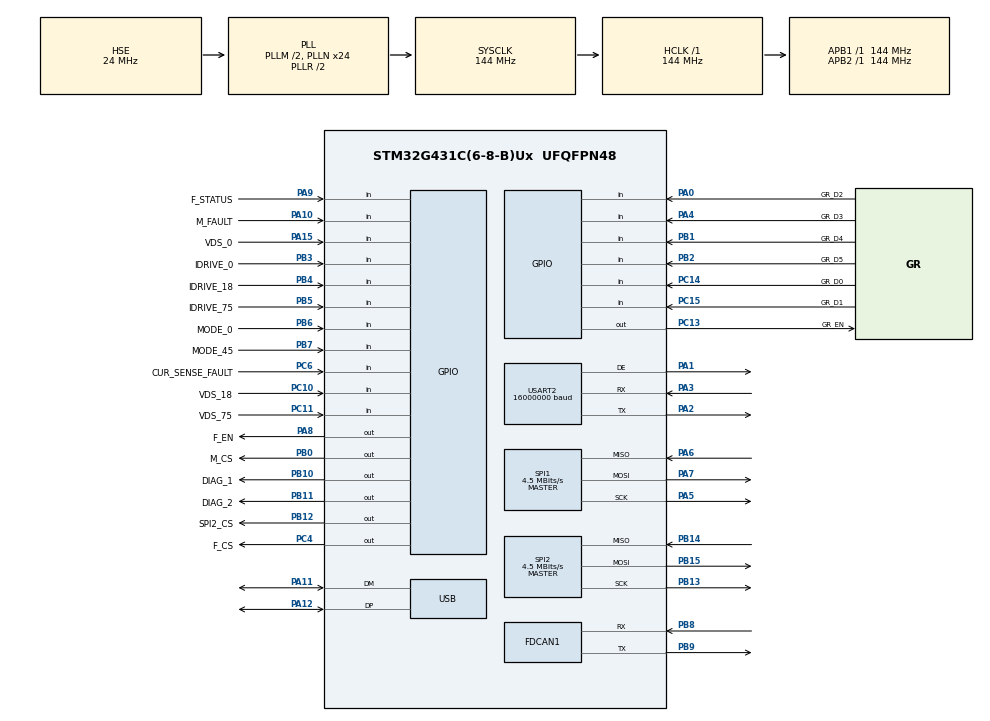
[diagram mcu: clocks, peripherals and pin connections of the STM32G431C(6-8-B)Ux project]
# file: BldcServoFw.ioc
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Dma.Request0=SPI1_RX
Dma.Request1=SPI1_TX
Dma.Request2=USART2_RX
Dma.Request3=USART2_TX
Dma.Request4=SPI2_RX
Dma.Request5=SPI2_TX
Dma.SPI1_RX.0.Direction=DMA_PERIPH_TO_MEMORY
Dma.SPI1_RX.0.EventEnable=DISABLE
Dma.SPI1_RX.0.Instance=DMA1_Channel1
Dma.SPI1_RX.0.MemDataAlignment=DMA_MDATAALIGN_BYTE
Dma.SPI1_RX.0.MemInc=DMA_MINC_ENABLE
Dma.SPI1_RX.0.Mode=DMA_NORMAL
Dma.SPI1_RX.0.PeriphDataAlignment=DMA_PDATAALIGN_BYTE
Dma.SPI1_RX.0.PeriphInc=DMA_PINC_DISABLE
Dma.SPI1_RX.0.Polarity=HAL_DMAMUX_REQ_GEN_RISING
Dma.SPI1_RX.0.Priority=DMA_PRIORITY_LOW
Dma.SPI1_RX.0.RequestNumber=1
Dma.SPI1_RX.0.SignalID=NONE
Dma.SPI1_RX.0.SyncEnable=DISABLE
Dma.SPI1_RX.0.SyncPolarity=HAL_DMAMUX_SYNC_NO_EVENT
Dma.SPI1_RX.0.SyncRequestNumber=1
Dma.SPI1_RX.0.SyncSignalID=NONE
Dma.SPI1_TX.1.Direction=DMA_MEMORY_TO_PERIPH
Dma.SPI1_TX.1.EventEnable=DISABLE
Dma.SPI1_TX.1.Instance=DMA1_Channel2
Dma.SPI1_TX.1.MemDataAlignment=DMA_MDATAALIGN_BYTE
Dma.SPI1_TX.1.MemInc=DMA_MINC_ENABLE
Dma.SPI1_TX.1.Mode=DMA_NORMAL
Dma.SPI1_TX.1.PeriphDataAlignment=DMA_PDATAALIGN_BYTE
Dma.SPI1_TX.1.PeriphInc=DMA_PINC_DISABLE
Dma.SPI1_TX.1.Polarity=HAL_DMAMUX_REQ_GEN_RISING
Dma.SPI1_TX.1.Priority=DMA_PRIORITY_LOW
Dma.SPI1_TX.1.RequestNumber=1
Dma.SPI1_TX.1.SignalID=NONE
Dma.SPI1_TX.1.SyncEnable=DISABLE
Dma.SPI1_TX.1.SyncPolarity=HAL_DMAMUX_SYNC_NO_EVENT
Dma.SPI1_TX.1.SyncRequestNumber=1
Dma.SPI1_TX.1.SyncSignalID=NONE
Dma.SPI2_RX.4.Direction=DMA_PERIPH_TO_MEMORY
Dma.SPI2_RX.4.EventEnable=DISABLE
Dma.SPI2_RX.4.Instance=DMA1_Channel5
Dma.SPI2_RX.4.MemDataAlignment=DMA_MDATAALIGN_BYTE
Dma.SPI2_RX.4.MemInc=DMA_MINC_ENABLE
Dma.SPI2_RX.4.Mode=DMA_NORMAL
Dma.SPI2_RX.4.PeriphDataAlignment=DMA_PDATAALIGN_BYTE
Dma.SPI2_RX.4.PeriphInc=DMA_PINC_DISABLE
Dma.SPI2_RX.4.Polarity=HAL_DMAMUX_REQ_GEN_RISING
Dma.SPI2_RX.4.Priority=DMA_PRIORITY_LOW
Dma.SPI2_RX.4.RequestNumber=1
Dma.SPI2_RX.4.SignalID=NONE
Dma.SPI2_RX.4.SyncEnable=DISABLE
Dma.SPI2_RX.4.SyncPolarity=HAL_DMAMUX_SYNC_NO_EVENT
Dma.SPI2_RX.4.SyncRequestNumber=1
Dma.SPI2_RX.4.SyncSignalID=NONE
Dma.SPI2_TX.5.Direction=DMA_MEMORY_TO_PERIPH
Dma.SPI2_TX.5.EventEnable=DISABLE
Dma.SPI2_TX.5.Instance=DMA1_Channel6
Dma.SPI2_TX.5.MemDataAlignment=DMA_MDATAALIGN_BYTE
Dma.SPI2_TX.5.MemInc=DMA_MINC_ENABLE
Dma.SPI2_TX.5.Mode=DMA_NORMAL
Dma.SPI2_TX.5.PeriphDataAlignment=DMA_PDATAALIGN_BYTE
Dma.SPI2_TX.5.PeriphInc=DMA_PINC_DISABLE
Dma.SPI2_TX.5.Polarity=HAL_DMAMUX_REQ_GEN_RISING
Dma.SPI2_TX.5.Priority=DMA_PRIORITY_LOW
Dma.SPI2_TX.5.RequestNumber=1
Dma.SPI2_TX.5.SignalID=NONE
Dma.SPI2_TX.5.SyncEnable=DISABLE
Dma.SPI2_TX.5.SyncPolarity=HAL_DMAMUX_SYNC_NO_EVENT
Dma.SPI2_TX.5.SyncRequestNumber=1
Dma.SPI2_TX.5.SyncSignalID=NONE
Dma.USART2_RX.2.Direction=DMA_PERIPH_TO_MEMORY
Dma.USART2_RX.2.EventEnable=DISABLE
Dma.USART2_RX.2.Instance=DMA1_Channel3
Dma.USART2_RX.2.MemDataAlignment=DMA_MDATAALIGN_BYTE
Dma.USART2_RX.2.MemInc=DMA_MINC_ENABLE
Dma.USART2_RX.2.Mode=DMA_NORMAL
Dma.USART2_RX.2.PeriphDataAlignment=DMA_PDATAALIGN_BYTE
Dma.USART2_RX.2.PeriphInc=DMA_PINC_DISABLE
Dma.USART2_RX.2.Polarity=HAL_DMAMUX_REQ_GEN_RISING
Dma.USART2_RX.2.Priority=DMA_PRIORITY_LOW
Dma.USART2_RX.2.RequestNumber=1
Dma.USART2_RX.2.SignalID=NONE
Dma.USART2_RX.2.SyncEnable=DISABLE
Dma.USART2_RX.2.SyncPolarity=HAL_DMAMUX_SYNC_NO_EVENT
Dma.USART2_RX.2.SyncRequestNumber=1
Dma.USART2_RX.2.SyncSignalID=NONE
Dma.USART2_TX.3.Direction=DMA_MEMORY_TO_PERIPH
Dma.USART2_TX.3.EventEnable=DISABLE
Dma.USART2_TX.3.Instance=DMA1_Channel4
Dma.USART2_TX.3.MemDataAlignment=DMA_MDATAALIGN_BYTE
Dma.USART2_TX.3.MemInc=DMA_MINC_ENABLE
Dma.USART2_TX.3.Mode=DMA_NORMAL
Dma.USART2_TX.3.PeriphDataAlignment=DMA_PDATAALIGN_BYTE
Dma.USART2_TX.3.PeriphInc=DMA_PINC_DISABLE
Dma.USART2_TX.3.Polarity=HAL_DMAMUX_REQ_GEN_RISING
Dma.USART2_TX.3.Priority=DMA_PRIORITY_LOW
Dma.USART2_TX.3.RequestNumber=1
Dma.USART2_TX.3.SignalID=NONE
Dma.USART2_TX.3.SyncEnable=DISABLE
Dma.USART2_TX.3.SyncPolarity=HAL_DMAMUX_SYNC_NO_EVENT
Dma.USART2_TX.3.SyncRequestNumber=1
Dma.USART2_TX.3.SyncSignalID=NONE
FDCAN1.CalculateBaudRateNominal=1000000
FDCAN1.CalculateTimeBitNominal=1000
FDCAN1.CalculateTimeQuantumNominal=6.944444444444445
FDCAN1.DataTimeSeg1=9
FDCAN1.DataTimeSeg2=8
FDCAN1.ExtFiltersNbr=2
FDCAN1.FrameFormat=FDCAN_FRAME_FD_BRS
FDCAN1.NominalPrescaler=1
FDCAN1.NominalTimeSeg1=72
FDCAN1.NominalTimeSeg2=71
FDCAN1.StdFiltersNbr=2
FDCAN1.TransmitPause=DISABLE
FREERTOS.BinarySemaphores01=usbRxCompleted,Static,usbRxCompletedControlBlock;spi1TxCompleted,Static,spi1TxCompletedControlBlock;spi1RxCompleted,Static,spi1RxCompletedControlBlock;rs485RxCompleted,Static,rs485RxCompletedControlBlock;rs485TxCompleted,Static,rs485TxCompletedControlBlock;fdCanRxCompleted,Static,fdCanRxCompletedControlBlock;spi2RxCompleted,Static,spi2RxCompletedControlBlock;spi2TxCompleted,Static,spi2TxCompletedControlBlock;fdCanTxCompleted,Static,fdCanTxCompletedControlBlock
FREERTOS.Tasks01=usbRx,8,128,handleUsbRx,Default,NULL,Static,usbRxBuffer,usbRxControlBlock;blinker,8,128,blink,Default,NULL,Static,blinkerBuffer,blinkerControlBlock;rs485Comm,24,128,handleRs485,Default,NULL,Static,rs485CommBuffer,rs485CommControlBlock;fdCanComm,24,128,handleFdCan,Default,NULL,Static,fdCanCommBuffer,fdCanCommControlBlock;spi2Comm,24,128,handleSpi2,Default,NULL,Static,spi2CommBuffer,spi2CommControlBlock
FREERTOS.configENABLE_FPU=0
FREERTOS.configMINIMAL_STACK_SIZE=64
FREERTOS.configTOTAL_HEAP_SIZE=1024
FREERTOS.configUSE_NEWLIB_REENTRANT=1
Mcu.Family=STM32G4
Mcu.Name=STM32G431C(6-8-B)Ux
Mcu.Package=UFQFPN48
NVIC.DMA1_Channel1_IRQn=true\:5\:0\:false\:false\:true\:true\:false\:true\:true
NVIC.DMA1_Channel2_IRQn=true\:5\:0\:false\:false\:true\:true\:false\:true\:true
NVIC.DMA1_Channel3_IRQn=true\:5\:0\:false\:false\:true\:true\:false\:true\:true
NVIC.DMA1_Channel4_IRQn=true\:5\:0\:false\:false\:true\:true\:false\:true\:true
NVIC.DMA1_Channel5_IRQn=true\:5\:0\:false\:false\:true\:true\:false\:true\:true
NVIC.DMA1_Channel6_IRQn=true\:5\:0\:false\:false\:true\:true\:false\:true\:true
NVIC.FDCAN1_IT0_IRQn=true\:5\:0\:false\:false\:true\:true\:true\:true\:true
NVIC.PriorityGroup=NVIC_PRIORITYGROUP_4
NVIC.TIM1_UP_TIM16_IRQn=true\:15\:0\:false\:false\:true\:false\:false\:true\:true
NVIC.TimeBase=TIM1_UP_TIM16_IRQn
NVIC.TimeBaseIP=TIM1
NVIC.USART2_IRQn=true\:5\:0\:false\:false\:true\:true\:true\:true\:true
NVIC.USB_LP_IRQn=true\:5\:0\:false\:false\:true\:true\:false\:true\:true
PA0.GPIO_Label=GR_D2
PA0.Signal=GPIO_Input
PA1.Mode=Hardware Flow Control (RS485)
PA1.Signal=USART2_DE
PA10.GPIO_Label=M_FAULT
PA10.Signal=GPIO_Input
PA11.Mode=Device
PA11.Signal=USB_DM
PA12.Mode=Device
PA12.Signal=USB_DP
PA13.Mode=Serial_Wire
PA13.Signal=SYS_JTMS-SWDIO
PA14.Mode=Serial_Wire
PA14.Signal=SYS_JTCK-SWCLK
PA15.GPIO_Label=VDS_0
PA15.Signal=GPIO_Input
PA2.Mode=Asynchronous
PA2.Signal=USART2_TX
PA3.Mode=Asynchronous
PA3.Signal=USART2_RX
PA4.GPIO_Label=GR_D3
PA4.Signal=GPIO_Input
PA5.Mode=Full_Duplex_Master
PA5.Signal=SPI1_SCK
PA6.Mode=Full_Duplex_Master
PA6.Signal=SPI1_MISO
PA7.Mode=Full_Duplex_Master
PA7.Signal=SPI1_MOSI
PA8.GPIO_Label=F_EN
PA8.Signal=GPIO_Output
PA9.GPIO_Label=F_STATUS
PA9.Signal=GPIO_Input
PB0.GPIO_Label=M_CS
PB0.Signal=GPIO_Output
PB1.GPIO_Label=GR_D4
PB1.Signal=GPIO_Input
PB10.GPIO_Label=DIAG_1
PB10.Signal=GPIO_Output
PB11.GPIO_Label=DIAG_2
PB11.Signal=GPIO_Output
PB12.GPIO_Label=SPI2_CS
PB12.Signal=GPIO_Output
PB13.Mode=Full_Duplex_Master
PB13.Signal=SPI2_SCK
PB14.Mode=Full_Duplex_Master
PB14.Signal=SPI2_MISO
PB15.Mode=Full_Duplex_Master
PB15.Signal=SPI2_MOSI
PB2.GPIO_Label=GR_D5
PB2.Signal=GPIO_Input
PB3.GPIO_Label=IDRIVE_0
PB3.Signal=GPIO_Input
PB4.GPIO_Label=IDRIVE_18
PB4.Signal=GPIO_Input
PB5.GPIO_Label=IDRIVE_75
PB5.Signal=GPIO_Input
PB6.GPIO_Label=MODE_0
PB6.Signal=GPIO_Input
PB7.GPIO_Label=MODE_45
PB7.Signal=GPIO_Input
PB8-BOOT0.Mode=FDCAN_Activate
PB8-BOOT0.Signal=FDCAN1_RX
PB9.Mode=FDCAN_Activate
PB9.Signal=FDCAN1_TX
PC10.GPIO_Label=VDS_18
PC10.Signal=GPIO_Input
PC11.GPIO_Label=VDS_75
PC11.Signal=GPIO_Input
PC13.GPIO_Label=GR_EN
PC13.Signal=GPIO_Output
PC14-OSC32_IN.GPIO_Label=GR_D0
PC14-OSC32_IN.Signal=GPIO_Input
PC15-OSC32_OUT.GPIO_Label=GR_D1
PC15-OSC32_OUT.Signal=GPIO_Input
PC4.GPIO_Label=F_CS
PC4.Signal=GPIO_Output
PC6.GPIO_Label=CUR_SENSE_FAULT
PC6.Signal=GPIO_Input
PF0-OSC_IN.Mode=HSE-External-Oscillator
PF0-OSC_IN.Signal=RCC_OSC_IN
PF1-OSC_OUT.Mode=HSE-External-Oscillator
PF1-OSC_OUT.Signal=RCC_OSC_OUT
ProjectManager.HeapSize=0x800
ProjectManager.StackSize=0x800
ProjectManager.TargetToolchain=STM32CubeIDE
RCC.ADC12Freq_Value=144000000
RCC.AHBFreq_Value=144000000
RCC.APB1Freq_Value=144000000
RCC.APB1TimFreq_Value=144000000
RCC.APB2Freq_Value=144000000
RCC.APB2TimFreq_Value=144000000
RCC.CortexFreq_Value=144000000
RCC.EXTERNAL_CLOCK_VALUE=12288000
RCC.EnbaleCSS=true
RCC.HCLKFreq_Value=144000000
RCC.HSE_VALUE=24000000
RCC.HSI48_VALUE=48000000
RCC.HSI_VALUE=16000000
RCC.LSE_VALUE=32768
RCC.PLLM=RCC_PLLM_DIV2
RCC.PLLN=24
RCC.PLLQ=RCC_PLLQ_DIV6
RCC.PLLSourceVirtual=RCC_PLLSOURCE_HSE
RCC.SYSCLKFreq_VALUE=144000000
RCC.SYSCLKSource=RCC_SYSCLKSOURCE_PLLCLK
RCC.USBFreq_Value=48000000
RCC.VCOOutputFreq_Value=288000000
SPI1.BaudRatePrescaler=SPI_BAUDRATEPRESCALER_32
SPI1.CalculateBaudRate=4.5 MBits/s
SPI1.DataSize=SPI_DATASIZE_8BIT
SPI1.Direction=SPI_DIRECTION_2LINES
SPI1.Mode=SPI_MODE_MASTER
SPI1.NSSPMode=SPI_NSS_PULSE_DISABLE
SPI1.VirtualType=VM_MASTER
SPI2.BaudRatePrescaler=SPI_BAUDRATEPRESCALER_32
SPI2.CalculateBaudRate=4.5 MBits/s
SPI2.DataSize=SPI_DATASIZE_8BIT
SPI2.Direction=SPI_DIRECTION_2LINES
SPI2.Mode=SPI_MODE_MASTER
SPI2.NSSPMode=SPI_NSS_PULSE_DISABLE
SPI2.VirtualType=VM_MASTER
USART2.AutoBaudRateEnableParam=UART_ADVFEATURE_AUTOBAUDRATE_DISABLE
USART2.BaudRate=16000000
USART2.OverSampling=UART_OVERSAMPLING_8
USART2.VirtualMode-Asynchronous=VM_ASYNC
USART2.VirtualMode-Hardware\ Flow\ Control\ (RS485)=VM_ASYNC
USB_DEVICE.APP_RX_DATA_SIZE=64
USB_DEVICE.APP_TX_DATA_SIZE=64
USB_DEVICE.CLASS_NAME_FS=CDC
USB_DEVICE.MANUFACTURER_STRING=MaxMatveev
USB_DEVICE.PRODUCT_STRING_CDC_FS=BLDC Servo ComPort
USB_DEVICE.USBD_MAX_STR_DESC_SIZ=256
USB_DEVICE.VirtualMode=Cdc
USB_DEVICE.VirtualModeFS=Cdc_FS
VP_CRC_VS_CRC.Mode=CRC_Activate
VP_FREERTOS_VS_CMSIS_V2.Mode=CMSIS_V2
VP_RTC_VS_RTC_Activate.Mode=RTC_Enabled
VP_SYS_VS_tim1.Mode=TIM1
VP_USB_DEVICE_VS_USB_DEVICE_CDC_FS.Mode=CDC_FS
board=custom

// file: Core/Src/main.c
/* USER CODE BEGIN Header */
/**
 ******************************************************************************
 * @file           : main.c
 * @brief          : Main program body
 ******************************************************************************
 * @attention
 *
 * Copyright (c) 2022 STMicroelectronics.
 * All rights reserved.
 *
 * This software is licensed under terms that can be found in the LICENSE file
 * in the root directory of this software component.
 * If no LICENSE file comes with this software, it is provided AS-IS.
 *
 ******************************************************************************
 */
/* USER CODE END Header */
#include "main.h"
#include "cmsis_os.h"
#include "usb_device.h"

/* USER CODE BEGIN Includes */
#include <stdio.h>

#include "usbd_cdc_if.h"

#include "config.h"
#include "acs711.h"
#include "tmc4671.h"
#include "drv8320h.h"
#include "gray_encoder.h"
#include "tmc/ic/TMC4671/TMC4671.h"
#include "eeprom_emul.h"
#include "interface.h"
#include "cli.h"

/* USER CODE END Includes */

typedef StaticTask_t osStaticThreadDef_t;
typedef StaticSemaphore_t osStaticSemaphoreDef_t;

CRC_HandleTypeDef hcrc;

FDCAN_HandleTypeDef hfdcan1;

RTC_HandleTypeDef hrtc;

SPI_HandleTypeDef hspi1;
SPI_HandleTypeDef hspi2;
DMA_HandleTypeDef hdma_spi1_rx;
DMA_HandleTypeDef hdma_spi1_tx;
DMA_HandleTypeDef hdma_spi2_rx;
DMA_HandleTypeDef hdma_spi2_tx;

UART_HandleTypeDef huart2;
DMA_HandleTypeDef hdma_usart2_rx;
DMA_HandleTypeDef hdma_usart2_tx;

/* Definitions for usbRx */
osThreadId_t usbRxHandle;
uint32_t usbRxBuffer[ 128 ];
osStaticThreadDef_t usbRxControlBlock;
const osThreadAttr_t usbRx_attributes = {
  .name = "usbRx",
  .stack_mem = &usbRxBuffer[0],
  .stack_size = sizeof(usbRxBuffer),
  .cb_mem = &usbRxControlBlock,
  .cb_size = sizeof(usbRxControlBlock),
  .priority = (osPriority_t) osPriorityLow,
};
/* Definitions for blinker */
osThreadId_t blinkerHandle;
uint32_t blinkerBuffer[ 128 ];
osStaticThreadDef_t blinkerControlBlock;
const osThreadAttr_t blinker_attributes = {
  .name = "blinker",
  .stack_mem = &blinkerBuffer[0],
  .stack_size = sizeof(blinkerBuffer),
  .cb_mem = &blinkerControlBlock,
  .cb_size = sizeof(blinkerControlBlock),
  .priority = (osPriority_t) osPriorityLow,
};
/* Definitions for rs485Comm */
osThreadId_t rs485CommHandle;
uint32_t rs485CommBuffer[ 128 ];
osStaticThreadDef_t rs485CommControlBlock;
const osThreadAttr_t rs485Comm_attributes = {
  .name = "rs485Comm",
  .stack_mem = &rs485CommBuffer[0],
  .stack_size = sizeof(rs485CommBuffer),
  .cb_mem = &rs485CommControlBlock,
  .cb_size = sizeof(rs485CommControlBlock),
  .priority = (osPriority_t) osPriorityNormal,
};
/* Definitions for fdCanComm */
osThreadId_t fdCanCommHandle;
uint32_t fdCanCommBuffer[ 128 ];
osStaticThreadDef_t fdCanCommControlBlock;
const osThreadAttr_t fdCanComm_attributes = {
  .name = "fdCanComm",
  .stack_mem = &fdCanCommBuffer[0],
  .stack_size = sizeof(fdCanCommBuffer),
  .cb_mem = &fdCanCommControlBlock,
  .cb_size = sizeof(fdCanCommControlBlock),
  .priority = (osPriority_t) osPriorityNormal,
};
/* Definitions for spi2Comm */
osThreadId_t spi2CommHandle;
uint32_t spi2CommBuffer[ 128 ];
osStaticThreadDef_t spi2CommControlBlock;
const osThreadAttr_t spi2Comm_attributes = {
  .name = "spi2Comm",
  .stack_mem = &spi2CommBuffer[0],
  .stack_size = sizeof(spi2CommBuffer),
  .cb_mem = &spi2CommControlBlock,
  .cb_size = sizeof(spi2CommControlBlock),
  .priority = (osPriority_t) osPriorityNormal,
};
/* Definitions for usbRxCompleted */
osSemaphoreId_t usbRxCompletedHandle;
osStaticSemaphoreDef_t usbRxCompletedControlBlock;
const osSemaphoreAttr_t usbRxCompleted_attributes = {
  .name = "usbRxCompleted",
  .cb_mem = &usbRxCompletedControlBlock,
  .cb_size = sizeof(usbRxCompletedControlBlock),
};
/* Definitions for spi1TxCompleted */
osSemaphoreId_t spi1TxCompletedHandle;
osStaticSemaphoreDef_t spi1TxCompletedControlBlock;
const osSemaphoreAttr_t spi1TxCompleted_attributes = {
  .name = "spi1TxCompleted",
  .cb_mem = &spi1TxCompletedControlBlock,
  .cb_size = sizeof(spi1TxCompletedControlBlock),
};
/* Definitions for spi1RxCompleted */
osSemaphoreId_t spi1RxCompletedHandle;
osStaticSemaphoreDef_t spi1RxCompletedControlBlock;
const osSemaphoreAttr_t spi1RxCompleted_attributes = {
  .name = "spi1RxCompleted",
  .cb_mem = &spi1RxCompletedControlBlock,
  .cb_size = sizeof(spi1RxCompletedControlBlock),
};
/* Definitions for rs485RxCompleted */
osSemaphoreId_t rs485RxCompletedHandle;
osStaticSemaphoreDef_t rs485RxCompletedControlBlock;
const osSemaphoreAttr_t rs485RxCompleted_attributes = {
  .name = "rs485RxCompleted",
  .cb_mem = &rs485RxCompletedControlBlock,
  .cb_size = sizeof(rs485RxCompletedControlBlock),
};
/* Definitions for rs485TxCompleted */
osSemaphoreId_t rs485TxCompletedHandle;
osStaticSemaphoreDef_t rs485TxCompletedControlBlock;
const osSemaphoreAttr_t rs485TxCompleted_attributes = {
  .name = "rs485TxCompleted",
  .cb_mem = &rs485TxCompletedControlBlock,
  .cb_size = sizeof(rs485TxCompletedControlBlock),
};
/* Definitions for fdCanRxCompleted */
osSemaphoreId_t fdCanRxCompletedHandle;
osStaticSemaphoreDef_t fdCanRxCompletedControlBlock;
const osSemaphoreAttr_t fdCanRxCompleted_attributes = {
  .name = "fdCanRxCompleted",
  .cb_mem = &fdCanRxCompletedControlBlock,
  .cb_size = sizeof(fdCanRxCompletedControlBlock),
};
/* Definitions for spi2RxCompleted */
osSemaphoreId_t spi2RxCompletedHandle;
osStaticSemaphoreDef_t spi2RxCompletedControlBlock;
const osSemaphoreAttr_t spi2RxCompleted_attributes = {
  .name = "spi2RxCompleted",
  .cb_mem = &spi2RxCompletedControlBlock,
  .cb_size = sizeof(spi2RxCompletedControlBlock),
};
/* Definitions for spi2TxCompleted */
osSemaphoreId_t spi2TxCompletedHandle;
osStaticSemaphoreDef_t spi2TxCompletedControlBlock;
const osSemaphoreAttr_t spi2TxCompleted_attributes = {
  .name = "spi2TxCompleted",
  .cb_mem = &spi2TxCompletedControlBlock,
  .cb_size = sizeof(spi2TxCompletedControlBlock),
};
/* Definitions for fdCanTxCompleted */
osSemaphoreId_t fdCanTxCompletedHandle;
osStaticSemaphoreDef_t fdCanTxCompletedControlBlock;
const osSemaphoreAttr_t fdCanTxCompleted_attributes = {
  .name = "fdCanTxCompleted",
  .cb_mem = &fdCanTxCompletedControlBlock,
  .cb_size = sizeof(fdCanTxCompletedControlBlock),
};
/* USER CODE BEGIN PV */

extern USBD_HandleTypeDef hUsbDeviceFS;

uint8_t fdCanTxData[64];
uint8_t fdCanRxData[64];
FDCAN_FilterTypeDef sFilterConfig;
FDCAN_TxHeaderTypeDef TxHeader;
FDCAN_RxHeaderTypeDef RxHeader;

uint8_t rs485TxData[64];
uint8_t rs485RxData[128];
uint16_t rs485RxDataPos;
uint16_t rs485RxDataLength;

uint8_t usbRxData[256];
uint32_t usbRxDataLength;
uint32_t usbRxDataPos;

volatile uint32_t isErasing;

/* USER CODE END PV */

void SystemClock_Config(void);
static void MX_GPIO_Init(void);
static void MX_DMA_Init(void);
static void MX_RTC_Init(void);
static void MX_FDCAN1_Init(void);
static void MX_SPI1_Init(void);
static void MX_SPI2_Init(void);
static void MX_USART2_UART_Init(void);
static void MX_CRC_Init(void);
void handleUsbRx(void *argument);
void blink(void *argument);
void handleRs485(void *argument);
void handleFdCan(void *argument);
void handleSpi2(void *argument);

/* USER CODE BEGIN 0 */

/**
 * Function to perform jump to system memory boot from user application
 *
 * Call function when you want to jump to system memory
 */
void JumpToBootloader(void) {
	void (*SysMemBootJump)(void);

	__HAL_RCC_SYSCFG_CLK_ENABLE();
	__HAL_SYSCFG_REMAPMEMORY_SYSTEMFLASH();

	SysMemBootJump = (void (*)(void)) (*((uint32_t*) (0x1FFF0004)));
	__set_MSP(*(uint32_t*) (0x1FFF0000));

	SysMemBootJump();
}

/* USER CODE END 0 */

int main(void)
{
  /* USER CODE BEGIN 1 */

	__HAL_RCC_PWR_CLK_ENABLE();
	if (HAL_RTCEx_BKUPRead(&hrtc, RTC_BKP_DR1) == 0xDEAD) {
		HAL_PWR_EnableBkUpAccess();
		HAL_RTCEx_BKUPWrite(&hrtc, RTC_BKP_DR1, 0);
		HAL_PWR_DisableBkUpAccess();
		JumpToBootloader();
	}

  /* USER CODE END 1 */

  /* MCU Configuration--------------------------------------------------------*/

  /* Reset of all peripherals, Initializes the Flash interface and the Systick. */
  HAL_Init();

  /* Configure the system clock */
  SystemClock_Config();

  /* USER CODE BEGIN SysInit */

  /* Enable and set FLASH Interrupt priority */
  /* FLASH interrupt is used for the purpose of pages clean up under interrupt */
  HAL_NVIC_SetPriority(FLASH_IRQn, 0, 0);
  HAL_NVIC_EnableIRQ(FLASH_IRQn);

  /* USER CODE END SysInit */

  /* Initialize all configured peripherals */
  MX_GPIO_Init();
  MX_DMA_Init();
  MX_RTC_Init();
  MX_USB_Device_Init();
  MX_FDCAN1_Init();
  MX_SPI1_Init();
  MX_SPI2_Init();
  MX_USART2_UART_Init();
  MX_CRC_Init();
  /* USER CODE BEGIN 2 */

	HAL_GPIO_WritePin(F_CS_GPIO_Port, F_CS_Pin, GPIO_PIN_SET);
	HAL_GPIO_WritePin(M_CS_GPIO_Port, M_CS_Pin, GPIO_PIN_SET);
	HAL_GPIO_WritePin(SPI2_CS_GPIO_Port, SPI2_CS_Pin, GPIO_PIN_SET);

	initDrv8320h();
	setTmc4671State(TMC4671_ENABLED);

	EE_Status ee_status = EE_OK;
	HAL_FLASH_Unlock();

  /* Set EEPROM emulation firmware to erase all potentially incompletely erased
     pages if the system came from an asynchronous reset. Conditional erase is
     safe to use if all Flash operations where completed before the system reset */
  if(__HAL_PWR_GET_FLAG(PWR_FLAG_SB) == RESET) {
    /* System reset comes from a power-on reset: Forced Erase */
    /* Initialize EEPROM emulation driver (mandatory) */
    ee_status = EE_Init(EE_FORCED_ERASE);
    if(ee_status != EE_OK) {Error_Handler();}
  } else {
  	HAL_GPIO_WritePin(DIAG_1_GPIO_Port, DIAG_1_Pin, GPIO_PIN_SET);
    HAL_GPIO_WritePin(DIAG_2_GPIO_Port, DIAG_2_Pin, GPIO_PIN_SET);
    /* Clear the Standby flag */
    __HAL_PWR_CLEAR_FLAG(PWR_FLAG_SB);

    /* Check and Clear the Wakeup flag */
    if (__HAL_PWR_GET_FLAG(PWR_FLAG_WUF2) != RESET) {
      __HAL_PWR_CLEAR_FLAG(PWR_FLAG_WUF2);
    }

    /* System reset comes from a STANDBY wakeup: Conditional Erase*/
    /* Initialize EEPROM emulation driver (mandatory) */
    ee_status = EE_Init(EE_CONDITIONAL_ERASE);
    if(ee_status != EE_OK) {Error_Handler();}
  }

  /* Wait any cleanup is completed before accessing flash again */
	while (isErasing) { }

	/* Lock the Flash Program Erase controller */
	HAL_FLASH_Lock();

  /* USER CODE END 2 */

  /* Init scheduler */
  osKernelInitialize();

  /* Create the semaphores(s) */
  /* creation of usbRxCompleted */
  usbRxCompletedHandle = osSemaphoreNew(1, 1, &usbRxCompleted_attributes);

  /* creation of spi1TxCompleted */
  spi1TxCompletedHandle = osSemaphoreNew(1, 1, &spi1TxCompleted_attributes);

  /* creation of spi1RxCompleted */
  spi1RxCompletedHandle = osSemaphoreNew(1, 1, &spi1RxCompleted_attributes);

  /* creation of rs485RxCompleted */
  rs485RxCompletedHandle = osSemaphoreNew(1, 1, &rs485RxCompleted_attributes);

  /* creation of rs485TxCompleted */
  rs485TxCompletedHandle = osSemaphoreNew(1, 1, &rs485TxCompleted_attributes);

  /* creation of fdCanRxCompleted */
  fdCanRxCompletedHandle = osSemaphoreNew(1, 1, &fdCanRxCompleted_attributes);

  /* creation of spi2RxCompleted */
  spi2RxCompletedHandle = osSemaphoreNew(1, 1, &spi2RxCompleted_attributes);

  /* creation of spi2TxCompleted */
  spi2TxCompletedHandle = osSemaphoreNew(1, 1, &spi2TxCompleted_attributes);

  /* creation of fdCanTxCompleted */
  fdCanTxCompletedHandle = osSemaphoreNew(1, 1, &fdCanTxCompleted_attributes);

  /* Create the thread(s) */
  /* creation of usbRx */
  usbRxHandle = osThreadNew(handleUsbRx, NULL, &usbRx_attributes);

  /* creation of blinker */
  blinkerHandle = osThreadNew(blink, NULL, &blinker_attributes);

  /* creation of rs485Comm */
  rs485CommHandle = osThreadNew(handleRs485, NULL, &rs485Comm_attributes);

  /* creation of fdCanComm */
  fdCanCommHandle = osThreadNew(handleFdCan, NULL, &fdCanComm_attributes);

  /* creation of spi2Comm */
  spi2CommHandle = osThreadNew(handleSpi2, NULL, &spi2Comm_attributes);

  /* USER CODE BEGIN RTOS_EVENTS */
	/* add events, ... */
  initCli();
  /* USER CODE END RTOS_EVENTS */

  /* Start scheduler */
  osKernelStart();

  /* We should never get here as control is now taken by the scheduler */
  /* Infinite loop */
	while (1) {

	}
}

void SystemClock_Config(void)
{
  RCC_OscInitTypeDef RCC_OscInitStruct = {0};
  RCC_ClkInitTypeDef RCC_ClkInitStruct = {0};

  /** Configure the main internal regulator output voltage
  */
  HAL_PWREx_ControlVoltageScaling(PWR_REGULATOR_VOLTAGE_SCALE1);

  /** Initializes the RCC Oscillators according to the specified parameters
  * in the RCC_OscInitTypeDef structure.
  */
  RCC_OscInitStruct.OscillatorType = RCC_OSCILLATORTYPE_LSI|RCC_OSCILLATORTYPE_HSE;
  RCC_OscInitStruct.HSEState = RCC_HSE_ON;
  RCC_OscInitStruct.LSIState = RCC_LSI_ON;
  RCC_OscInitStruct.PLL.PLLState = RCC_PLL_ON;
  RCC_OscInitStruct.PLL.PLLSource = RCC_PLLSOURCE_HSE;
  RCC_OscInitStruct.PLL.PLLM = RCC_PLLM_DIV2;
  RCC_OscInitStruct.PLL.PLLN = 24;
  RCC_OscInitStruct.PLL.PLLP = RCC_PLLP_DIV2;
  RCC_OscInitStruct.PLL.PLLQ = RCC_PLLQ_DIV6;
  RCC_OscInitStruct.PLL.PLLR = RCC_PLLR_DIV2;
  if (HAL_RCC_OscConfig(&RCC_OscInitStruct) != HAL_OK)
  {
    Error_Handler();
  }

  /** Initializes the CPU, AHB and APB buses clocks
  */
  RCC_ClkInitStruct.ClockType = RCC_CLOCKTYPE_HCLK|RCC_CLOCKTYPE_SYSCLK
                              |RCC_CLOCKTYPE_PCLK1|RCC_CLOCKTYPE_PCLK2;
  RCC_ClkInitStruct.SYSCLKSource = RCC_SYSCLKSOURCE_PLLCLK;
  RCC_ClkInitStruct.AHBCLKDivider = RCC_SYSCLK_DIV1;
  RCC_ClkInitStruct.APB1CLKDivider = RCC_HCLK_DIV1;
  RCC_ClkInitStruct.APB2CLKDivider = RCC_HCLK_DIV1;

  if (HAL_RCC_ClockConfig(&RCC_ClkInitStruct, FLASH_LATENCY_4) != HAL_OK)
  {
    Error_Handler();
  }

  /** Enables the Clock Security System
  */
  HAL_RCC_EnableCSS();
}

static void MX_CRC_Init(void)
{

  hcrc.Instance = CRC;
  hcrc.Init.DefaultPolynomialUse = DEFAULT_POLYNOMIAL_ENABLE;
  hcrc.Init.DefaultInitValueUse = DEFAULT_INIT_VALUE_ENABLE;
  hcrc.Init.InputDataInversionMode = CRC_INPUTDATA_INVERSION_NONE;
  hcrc.Init.OutputDataInversionMode = CRC_OUTPUTDATA_INVERSION_DISABLE;
  hcrc.InputDataFormat = CRC_INPUTDATA_FORMAT_BYTES;
  if (HAL_CRC_Init(&hcrc) != HAL_OK)
  {
    Error_Handler();
  }

}

static void MX_FDCAN1_Init(void)
{

  hfdcan1.Instance = FDCAN1;
  hfdcan1.Init.ClockDivider = FDCAN_CLOCK_DIV1;
  hfdcan1.Init.FrameFormat = FDCAN_FRAME_FD_BRS;
  hfdcan1.Init.Mode = FDCAN_MODE_NORMAL;
  hfdcan1.Init.AutoRetransmission = DISABLE;
  hfdcan1.Init.TransmitPause = DISABLE;
  hfdcan1.Init.ProtocolException = DISABLE;
  hfdcan1.Init.NominalPrescaler = 1;
  hfdcan1.Init.NominalSyncJumpWidth = 1;
  hfdcan1.Init.NominalTimeSeg1 = 72;
  hfdcan1.Init.NominalTimeSeg2 = 71;
  hfdcan1.Init.DataPrescaler = 1;
  hfdcan1.Init.DataSyncJumpWidth = 1;
  hfdcan1.Init.DataTimeSeg1 = 9;
  hfdcan1.Init.DataTimeSeg2 = 8;
  hfdcan1.Init.StdFiltersNbr = 2;
  hfdcan1.Init.ExtFiltersNbr = 2;
  hfdcan1.Init.TxFifoQueueMode = FDCAN_TX_FIFO_OPERATION;
  if (HAL_FDCAN_Init(&hfdcan1) != HAL_OK)
  {
    Error_Handler();
  }
  /* USER CODE BEGIN FDCAN1_Init 2 */

	sFilterConfig.IdType = FDCAN_STANDARD_ID;
	sFilterConfig.FilterIndex = 0;
	sFilterConfig.FilterType = FDCAN_FILTER_MASK;
	sFilterConfig.FilterConfig = FDCAN_FILTER_TO_RXFIFO0;
	sFilterConfig.FilterID1 = 0x111;
	sFilterConfig.FilterID2 = 0x7FF;
	if (HAL_FDCAN_ConfigFilter(&hfdcan1, &sFilterConfig) != HAL_OK) {
		Error_Handler();
	}

	/* Configure global filter on both FDCAN instances:
	 Filter all remote frames with STD and EXT ID
	 Reject non matching frames with STD ID and EXT ID */
	if (HAL_FDCAN_ConfigGlobalFilter(&hfdcan1, FDCAN_REJECT, FDCAN_REJECT,
	FDCAN_FILTER_REMOTE, FDCAN_FILTER_REMOTE) != HAL_OK) {
		Error_Handler();
	}

	/* Activate Rx FIFO 0 new message notification on both FDCAN instances */
	if (HAL_FDCAN_ActivateNotification(&hfdcan1, FDCAN_IT_RX_FIFO0_NEW_MESSAGE, 0)
			!= HAL_OK) {
		Error_Handler();
	}

	/* Prepare Tx message Header */
	TxHeader.Identifier = 0x111;
	TxHeader.IdType = FDCAN_STANDARD_ID;
	TxHeader.TxFrameType = FDCAN_DATA_FRAME;
	TxHeader.DataLength = FDCAN_DLC_BYTES_64;
	TxHeader.ErrorStateIndicator = FDCAN_ESI_ACTIVE;
	TxHeader.BitRateSwitch = FDCAN_BRS_ON;
	TxHeader.FDFormat = FDCAN_FD_CAN;
	TxHeader.TxEventFifoControl = FDCAN_NO_TX_EVENTS;
	TxHeader.MessageMarker = 0;

	/* Configure and enable Tx Delay Compensation, required for BRS mode.
	 TdcOffset default recommended value: DataTimeSeg1 * DataPrescaler
	 TdcFilter default recommended value: 0 */
	if (HAL_FDCAN_ConfigTxDelayCompensation(&hfdcan1, 9, 0) != HAL_OK) {
		Error_Handler();
	}
	if (HAL_FDCAN_EnableTxDelayCompensation(&hfdcan1) != HAL_OK) {
		Error_Handler();
	}

	/* Start the FDCAN module on both FDCAN instances */
	if (HAL_FDCAN_Start(&hfdcan1) != HAL_OK) {
		Error_Handler();
	}

  /* USER CODE END FDCAN1_Init 2 */

}

static void MX_RTC_Init(void)
{

  /** Initialize RTC Only
  */
  hrtc.Instance = RTC;
  hrtc.Init.HourFormat = RTC_HOURFORMAT_24;
  hrtc.Init.AsynchPrediv = 127;
  hrtc.Init.SynchPrediv = 255;
  hrtc.Init.OutPut = RTC_OUTPUT_DISABLE;
  hrtc.Init.OutPutRemap = RTC_OUTPUT_REMAP_NONE;
  hrtc.Init.OutPutPolarity = RTC_OUTPUT_POLARITY_HIGH;
  hrtc.Init.OutPutType = RTC_OUTPUT_TYPE_OPENDRAIN;
  hrtc.Init.OutPutPullUp = RTC_OUTPUT_PULLUP_NONE;
  if (HAL_RTC_Init(&hrtc) != HAL_OK)
  {
    Error_Handler();
  }

}

static void MX_SPI1_Init(void)
{

  /* SPI1 parameter configuration*/
  hspi1.Instance = SPI1;
  hspi1.Init.Mode = SPI_MODE_MASTER;
  hspi1.Init.Direction = SPI_DIRECTION_2LINES;
  hspi1.Init.DataSize = SPI_DATASIZE_8BIT;
  hspi1.Init.CLKPolarity = SPI_POLARITY_LOW;
  hspi1.Init.CLKPhase = SPI_PHASE_1EDGE;
  hspi1.Init.NSS = SPI_NSS_SOFT;
  hspi1.Init.BaudRatePrescaler = SPI_BAUDRATEPRESCALER_32;
  hspi1.Init.FirstBit = SPI_FIRSTBIT_MSB;
  hspi1.Init.TIMode = SPI_TIMODE_DISABLE;
  hspi1.Init.CRCCalculation = SPI_CRCCALCULATION_DISABLE;
  hspi1.Init.CRCPolynomial = 7;
  hspi1.Init.CRCLength = SPI_CRC_LENGTH_DATASIZE;
  hspi1.Init.NSSPMode = SPI_NSS_PULSE_DISABLE;
  if (HAL_SPI_Init(&hspi1) != HAL_OK)
  {
    Error_Handler();
  }

}

static void MX_SPI2_Init(void)
{

  /* SPI2 parameter configuration*/
  hspi2.Instance = SPI2;
  hspi2.Init.Mode = SPI_MODE_MASTER;
  hspi2.Init.Direction = SPI_DIRECTION_2LINES;
  hspi2.Init.DataSize = SPI_DATASIZE_8BIT;
  hspi2.Init.CLKPolarity = SPI_POLARITY_LOW;
  hspi2.Init.CLKPhase = SPI_PHASE_1EDGE;
  hspi2.Init.NSS = SPI_NSS_SOFT;
  hspi2.Init.BaudRatePrescaler = SPI_BAUDRATEPRESCALER_32;
  hspi2.Init.FirstBit = SPI_FIRSTBIT_MSB;
  hspi2.Init.TIMode = SPI_TIMODE_DISABLE;
  hspi2.Init.CRCCalculation = SPI_CRCCALCULATION_DISABLE;
  hspi2.Init.CRCPolynomial = 7;
  hspi2.Init.CRCLength = SPI_CRC_LENGTH_DATASIZE;
  hspi2.Init.NSSPMode = SPI_NSS_PULSE_DISABLE;
  if (HAL_SPI_Init(&hspi2) != HAL_OK)
  {
    Error_Handler();
  }

}

static void MX_USART2_UART_Init(void)
{

  huart2.Instance = USART2;
  huart2.Init.BaudRate = 16000000;
  huart2.Init.WordLength = UART_WORDLENGTH_8B;
  huart2.Init.StopBits = UART_STOPBITS_1;
  huart2.Init.Parity = UART_PARITY_NONE;
  huart2.Init.Mode = UART_MODE_TX_RX;
  huart2.Init.HwFlowCtl = UART_HWCONTROL_NONE;
  huart2.Init.OverSampling = UART_OVERSAMPLING_8;
  huart2.Init.OneBitSampling = UART_ONE_BIT_SAMPLE_DISABLE;
  huart2.Init.ClockPrescaler = UART_PRESCALER_DIV1;
  huart2.AdvancedInit.AdvFeatureInit = UART_ADVFEATURE_NO_INIT;
  if (HAL_RS485Ex_Init(&huart2, UART_DE_POLARITY_HIGH, 0, 0) != HAL_OK)
  {
    Error_Handler();
  }
  if (HAL_UARTEx_SetTxFifoThreshold(&huart2, UART_TXFIFO_THRESHOLD_1_8) != HAL_OK)
  {
    Error_Handler();
  }
  if (HAL_UARTEx_SetRxFifoThreshold(&huart2, UART_RXFIFO_THRESHOLD_1_8) != HAL_OK)
  {
    Error_Handler();
  }
  if (HAL_UARTEx_DisableFifoMode(&huart2) != HAL_OK)
  {
    Error_Handler();
  }

}

static void MX_DMA_Init(void)
{

  /* DMA controller clock enable */
  __HAL_RCC_DMAMUX1_CLK_ENABLE();
  __HAL_RCC_DMA1_CLK_ENABLE();

  /* DMA interrupt init */
  /* DMA1_Channel1_IRQn interrupt configuration */
  HAL_NVIC_SetPriority(DMA1_Channel1_IRQn, 5, 0);
  HAL_NVIC_EnableIRQ(DMA1_Channel1_IRQn);
  /* DMA1_Channel2_IRQn interrupt configuration */
  HAL_NVIC_SetPriority(DMA1_Channel2_IRQn, 5, 0);
  HAL_NVIC_EnableIRQ(DMA1_Channel2_IRQn);
  /* DMA1_Channel3_IRQn interrupt configuration */
  HAL_NVIC_SetPriority(DMA1_Channel3_IRQn, 5, 0);
  HAL_NVIC_EnableIRQ(DMA1_Channel3_IRQn);
  /* DMA1_Channel4_IRQn interrupt configuration */
  HAL_NVIC_SetPriority(DMA1_Channel4_IRQn, 5, 0);
  HAL_NVIC_EnableIRQ(DMA1_Channel4_IRQn);
  /* DMA1_Channel5_IRQn interrupt configuration */
  HAL_NVIC_SetPriority(DMA1_Channel5_IRQn, 5, 0);
  HAL_NVIC_EnableIRQ(DMA1_Channel5_IRQn);
  /* DMA1_Channel6_IRQn interrupt configuration */
  HAL_NVIC_SetPriority(DMA1_Channel6_IRQn, 5, 0);
  HAL_NVIC_EnableIRQ(DMA1_Channel6_IRQn);

}

static void MX_GPIO_Init(void)
{
  GPIO_InitTypeDef GPIO_InitStruct = {0};

  /* GPIO Ports Clock Enable */
  __HAL_RCC_GPIOC_CLK_ENABLE();
  __HAL_RCC_GPIOF_CLK_ENABLE();
  __HAL_RCC_GPIOA_CLK_ENABLE();
  __HAL_RCC_GPIOB_CLK_ENABLE();

  /*Configure GPIO pin Output Level */
  HAL_GPIO_WritePin(GPIOC, GR_EN_Pin|F_CS_Pin, GPIO_PIN_RESET);

  /*Configure GPIO pin Output Level */
  HAL_GPIO_WritePin(GPIOB, M_CS_Pin|DIAG_1_Pin|DIAG_2_Pin|SPI2_CS_Pin, GPIO_PIN_RESET);

  /*Configure GPIO pin Output Level */
  HAL_GPIO_WritePin(F_EN_GPIO_Port, F_EN_Pin, GPIO_PIN_RESET);

  /*Configure GPIO pins : GR_EN_Pin F_CS_Pin */
  GPIO_InitStruct.Pin = GR_EN_Pin|F_CS_Pin;
  GPIO_InitStruct.Mode = GPIO_MODE_OUTPUT_PP;
  GPIO_InitStruct.Pull = GPIO_NOPULL;
  GPIO_InitStruct.Speed = GPIO_SPEED_FREQ_LOW;
  HAL_GPIO_Init(GPIOC, &GPIO_InitStruct);

  /*Configure GPIO pins : GR_D0_Pin GR_D1_Pin CUR_SENSE_FAULT_Pin VDS_18_Pin
                           VDS_75_Pin */
  GPIO_InitStruct.Pin = GR_D0_Pin|GR_D1_Pin|CUR_SENSE_FAULT_Pin|VDS_18_Pin
                          |VDS_75_Pin;
  GPIO_InitStruct.Mode = GPIO_MODE_INPUT;
  GPIO_InitStruct.Pull = GPIO_NOPULL;
  HAL_GPIO_Init(GPIOC, &GPIO_InitStruct);

  /*Configure GPIO pins : GR_D2_Pin GR_D3_Pin F_STATUS_Pin M_FAULT_Pin
                           VDS_0_Pin */
  GPIO_InitStruct.Pin = GR_D2_Pin|GR_D3_Pin|F_STATUS_Pin|M_FAULT_Pin
                          |VDS_0_Pin;
  GPIO_InitStruct.Mode = GPIO_MODE_INPUT;
  GPIO_InitStruct.Pull = GPIO_NOPULL;
  HAL_GPIO_Init(GPIOA, &GPIO_InitStruct);

  /*Configure GPIO pins : M_CS_Pin DIAG_1_Pin DIAG_2_Pin SPI2_CS_Pin */
  GPIO_InitStruct.Pin = M_CS_Pin|DIAG_1_Pin|DIAG_2_Pin|SPI2_CS_Pin;
  GPIO_InitStruct.Mode = GPIO_MODE_OUTPUT_PP;
  GPIO_InitStruct.Pull = GPIO_NOPULL;
  GPIO_InitStruct.Speed = GPIO_SPEED_FREQ_LOW;
  HAL_GPIO_Init(GPIOB, &GPIO_InitStruct);

  /*Configure GPIO pins : GR_D4_Pin GR_D5_Pin IDRIVE_0_Pin IDRIVE_18_Pin
                           IDRIVE_75_Pin MODE_0_Pin MODE_45_Pin */
  GPIO_InitStruct.Pin = GR_D4_Pin|GR_D5_Pin|IDRIVE_0_Pin|IDRIVE_18_Pin
                          |IDRIVE_75_Pin|MODE_0_Pin|MODE_45_Pin;
  GPIO_InitStruct.Mode = GPIO_MODE_INPUT;
  GPIO_InitStruct.Pull = GPIO_NOPULL;
  HAL_GPIO_Init(GPIOB, &GPIO_InitStruct);

  /*Configure GPIO pin : F_EN_Pin */
  GPIO_InitStruct.Pin = F_EN_Pin;
  GPIO_InitStruct.Mode = GPIO_MODE_OUTPUT_PP;
  GPIO_InitStruct.Pull = GPIO_NOPULL;
  GPIO_InitStruct.Speed = GPIO_SPEED_FREQ_LOW;
  HAL_GPIO_Init(F_EN_GPIO_Port, &GPIO_InitStruct);

}

/* USER CODE BEGIN 4 */

void HAL_FLASH_EndOfOperationCallback(uint32_t ReturnValue) {
  /* Call CleanUp callback when all requested pages have been erased */
  if (ReturnValue == 0xFFFFFFFF) {
    isErasing = 0;
  }
}

void HAL_SPI_TxCpltCallback(SPI_HandleTypeDef *hspi) {
	if (hspi->Instance == SPI1) {
		osSemaphoreRelease(spi1TxCompletedHandle);
	} else if (hspi->Instance == SPI2) {
		osSemaphoreRelease(spi2TxCompletedHandle);
	}
}

void HAL_SPI_RxCpltCallback(SPI_HandleTypeDef *hspi) {
	if (hspi->Instance == SPI1) {
		osSemaphoreRelease(spi1RxCompletedHandle);
	} else if (hspi->Instance == SPI2) {
		osSemaphoreRelease(spi2RxCompletedHandle);
	}
}

void HAL_UARTEx_RxEventCallback(UART_HandleTypeDef *huart, uint16_t size) {
	if (huart->Instance == USART2) {
		printf("RX:%3d bytes\n", size);
		rs485RxDataLength = size;
		osSemaphoreRelease(rs485RxCompletedHandle);
	}
}

void HAL_UART_TxCpltCallback(UART_HandleTypeDef *huart) {
	if (huart->Instance == USART2) {
		osSemaphoreRelease(rs485TxCompletedHandle);
	}
}

void HAL_FDCAN_RxFifo0Callback(FDCAN_HandleTypeDef *hfdcan, uint32_t RxFifo0ITs) {
	if (hfdcan->Instance == FDCAN1
			&& (RxFifo0ITs & FDCAN_IT_RX_FIFO0_NEW_MESSAGE) != 0) {
		/* Retrieve Rx messages from RX FIFO0 */
		if (HAL_FDCAN_GetRxMessage(hfdcan, FDCAN_RX_FIFO0, &RxHeader, fdCanRxData)
				== HAL_OK) {
			osSemaphoreRelease(fdCanRxCompletedHandle);
		}
	}
}

void HAL_FDCAN_TxBufferCompleteCallback(FDCAN_HandleTypeDef *hfdcan,
		uint32_t BufferIndexes) {
	if (hfdcan->Instance == FDCAN1) {
		osSemaphoreRelease(fdCanTxCompletedHandle);
	}
}

uint32_t calculateCrc(uint8_t *data, uint16_t length) {
	return HAL_CRC_Calculate(&hcrc, (uint32_t *)data, length);
}

int _write(int file, char *ptr, int len) {
	static uint8_t rc = USBD_OK;

	do {
		if (hUsbDeviceFS.dev_state != USBD_STATE_CONFIGURED) {
			break;
		}
		rc = CDC_Transmit_FS((uint8_t *)ptr, len);
	} while (USBD_BUSY == rc);

	return len;
}

char nextChar() {
	while (usbRxDataPos >= usbRxDataLength) {
		USBD_CDC_ReceivePacket(&hUsbDeviceFS);
		if (osSemaphoreAcquire(usbRxCompletedHandle, 10) != osOK) {
			continue;
		}
		if (!usbRxDataLength) {
			continue;
		}
	}
	return usbRxData[usbRxDataPos++];
}

void startDfu() {
	osKernelLock();
	HAL_GPIO_WritePin(DIAG_1_GPIO_Port, DIAG_1_Pin, GPIO_PIN_SET);
	HAL_GPIO_WritePin(DIAG_2_GPIO_Port, DIAG_2_Pin, GPIO_PIN_SET);
	HAL_PWR_EnableBkUpAccess();
	HAL_RTCEx_BKUPWrite(&hrtc, RTC_BKP_DR1, 0xDEAD);
	HAL_PWR_DisableBkUpAccess();
	for (int i = 0; i < 10; i++) {
		HAL_Delay(50);
		HAL_GPIO_TogglePin(DIAG_1_GPIO_Port, DIAG_1_Pin);
		HAL_GPIO_TogglePin(DIAG_2_GPIO_Port, DIAG_2_Pin);
		HAL_Delay(200);
		HAL_GPIO_TogglePin(DIAG_1_GPIO_Port, DIAG_1_Pin);
		HAL_GPIO_TogglePin(DIAG_2_GPIO_Port, DIAG_2_Pin);
	}
	NVIC_SystemReset();
}

void doRs485Test() {
	printf("RS485 TX 1\n");
	memset(rs485TxData, 0, 60);
	sprintf((char*) rs485TxData, "$ 0x%08lX\n", xTaskGetTickCount());
	*((uint32_t *)&rs485TxData[60]) = calculateCrc(rs485TxData, 60);
	HAL_UART_Transmit_DMA(&huart2, rs485TxData, 32);
	osSemaphoreAcquire(rs485TxCompletedHandle, 10);
	printf("RS485 TX 2\n");
	osDelay(10);
	HAL_UART_Transmit_DMA(&huart2, &rs485TxData[32], 32);
	osSemaphoreAcquire(rs485TxCompletedHandle, 10);
	printf("RS485 TX 3\n");
	static uint8_t junk[4] = "junk";
	osDelay(10);
	HAL_UART_Transmit_DMA(&huart2, junk, 4);
	osSemaphoreAcquire(rs485TxCompletedHandle, 10);
	printf("RS485 TX 4\n");
}

void doFdCanTest() {
	sprintf((char*) fdCanTxData, "# %08lx\n", xTaskGetTickCount());
	if (HAL_FDCAN_AddMessageToTxFifoQ(&hfdcan1, &TxHeader, fdCanTxData)
			!= HAL_OK) {
		Error_Handler();
	}
	osSemaphoreAcquire(fdCanTxCompletedHandle, 10);
}

/* USER CODE END 4 */

void handleUsbRx(void *argument)
{
  /* USER CODE BEGIN 5 */

	/* Infinite loop */
	for (;;) {
		processCli(nextChar());
	}

  /* USER CODE END 5 */
}

void blink(void *argument)
{
  /* USER CODE BEGIN blink */

	/* Infinite loop */
	for (;;) {
		HAL_GPIO_WritePin(DIAG_1_GPIO_Port, DIAG_1_Pin, GPIO_PIN_SET);
		HAL_GPIO_WritePin(DIAG_2_GPIO_Port, DIAG_2_Pin, GPIO_PIN_SET);
		osDelay(2000);
		HAL_GPIO_WritePin(DIAG_1_GPIO_Port, DIAG_1_Pin, GPIO_PIN_RESET);
		HAL_GPIO_WritePin(DIAG_2_GPIO_Port, DIAG_2_Pin, GPIO_PIN_RESET);
		osDelay(1000);

		HAL_GPIO_WritePin(DIAG_1_GPIO_Port, DIAG_1_Pin, GPIO_PIN_SET);
		HAL_GPIO_WritePin(DIAG_2_GPIO_Port, DIAG_2_Pin, hasDrv8320hFailure());
		osDelay(100);
		HAL_GPIO_WritePin(DIAG_1_GPIO_Port, DIAG_1_Pin, GPIO_PIN_RESET);
		osDelay(500);

		HAL_GPIO_WritePin(DIAG_1_GPIO_Port, DIAG_1_Pin, GPIO_PIN_SET);
		HAL_GPIO_WritePin(DIAG_2_GPIO_Port, DIAG_2_Pin, hasTmc4671Failure());
		osDelay(100);
		HAL_GPIO_WritePin(DIAG_1_GPIO_Port, DIAG_1_Pin, GPIO_PIN_RESET);
		osDelay(100);
		HAL_GPIO_WritePin(DIAG_1_GPIO_Port, DIAG_1_Pin, GPIO_PIN_SET);
		osDelay(100);
		HAL_GPIO_WritePin(DIAG_1_GPIO_Port, DIAG_1_Pin, GPIO_PIN_RESET);
		osDelay(500);

		HAL_GPIO_WritePin(DIAG_1_GPIO_Port, DIAG_1_Pin, GPIO_PIN_SET);
		HAL_GPIO_WritePin(DIAG_2_GPIO_Port, DIAG_2_Pin, hasAcs711Failure());
		osDelay(100);
		HAL_GPIO_WritePin(DIAG_1_GPIO_Port, DIAG_1_Pin, GPIO_PIN_RESET);
		osDelay(100);
		HAL_GPIO_WritePin(DIAG_1_GPIO_Port, DIAG_1_Pin, GPIO_PIN_SET);
		osDelay(100);
		HAL_GPIO_WritePin(DIAG_1_GPIO_Port, DIAG_1_Pin, GPIO_PIN_RESET);
		osDelay(100);
		HAL_GPIO_WritePin(DIAG_1_GPIO_Port, DIAG_1_Pin, GPIO_PIN_SET);
		osDelay(100);
		HAL_GPIO_WritePin(DIAG_1_GPIO_Port, DIAG_1_Pin, GPIO_PIN_RESET);
		osDelay(500);
	}

  /* USER CODE END blink */
}

void handleRs485(void *argument)
{
  /* USER CODE BEGIN handleRs485 */
	/* Infinite loop */
	for (;;) {
		HAL_UARTEx_ReceiveToIdle_DMA(&huart2, &rs485RxData[rs485RxDataPos], sizeof(rs485RxData) - rs485RxDataPos);
		__HAL_DMA_DISABLE_IT(&hdma_usart2_rx, DMA_IT_HT);
		if (osSemaphoreAcquire(rs485RxCompletedHandle, 10) != osOK) {
			continue;
		}
		uint16_t newDataPos = rs485RxDataPos;
		for (;rs485RxDataLength > 0; rs485RxDataLength--) {
			newDataPos++;
			if (handleCommand(rs485RxData, newDataPos, RS485)) {
				memmove(rs485RxData, &rs485RxData[newDataPos], rs485RxDataLength);
				newDataPos = 0;
			}
		}
		if (newDataPos == 128) {
			memmove(rs485RxData, &rs485RxData[64], 64);
			newDataPos = 64;
		}
		printf("%3d -> %3d\n", rs485RxDataPos, newDataPos);
		rs485RxDataPos = newDataPos;
	}
  /* USER CODE END handleRs485 */
}

void handleFdCan(void *argument)
{
  /* USER CODE BEGIN handleFdCan */
	/* Infinite loop */
	for (;;) {
		if (osSemaphoreAcquire(fdCanRxCompletedHandle, 10) != osOK) {
			continue;
		}

		if (fdCanRxData[0] == '#') {
			memcpy(fdCanTxData, fdCanRxData, 64);
			fdCanTxData[0] = ']';
			if (HAL_FDCAN_AddMessageToTxFifoQ(&hfdcan1, &TxHeader, fdCanTxData)
					!= HAL_OK) {
				Error_Handler();
			}
			osSemaphoreAcquire(fdCanTxCompletedHandle, 10);
		} else {
			fdCanRxData[12] = 0;
			printf((char *)fdCanRxData);
		}
	}
  /* USER CODE END handleFdCan */
}

void handleSpi2(void *argument)
{
  /* USER CODE BEGIN handleSpi2 */
	/* Infinite loop */
	for (;;) {
		if (osSemaphoreAcquire(spi2RxCompletedHandle, 10) != osOK) {
			continue;
		}
	}
  /* USER CODE END handleSpi2 */
}

void HAL_TIM_PeriodElapsedCallback(TIM_HandleTypeDef *htim)
{
  if (htim->Instance == TIM1) {
    HAL_IncTick();
  }
}

void Error_Handler(void)
{
  /* USER CODE BEGIN Error_Handler_Debug */
	/* User can add his own implementation to report the HAL error return state */
	__disable_irq();
	while (1) {
		for (int i = 0; i < 300000; i++) {
			HAL_GPIO_WritePin(DIAG_1_GPIO_Port, DIAG_1_Pin, GPIO_PIN_SET);
			HAL_GPIO_WritePin(DIAG_2_GPIO_Port, DIAG_2_Pin, GPIO_PIN_RESET);
		}
		for (int i = 0; i < 300000; i++) {
			HAL_GPIO_WritePin(DIAG_1_GPIO_Port, DIAG_1_Pin, GPIO_PIN_RESET);
			HAL_GPIO_WritePin(DIAG_2_GPIO_Port, DIAG_2_Pin, GPIO_PIN_SET);
		}
	}
  /* USER CODE END Error_Handler_Debug */
}
